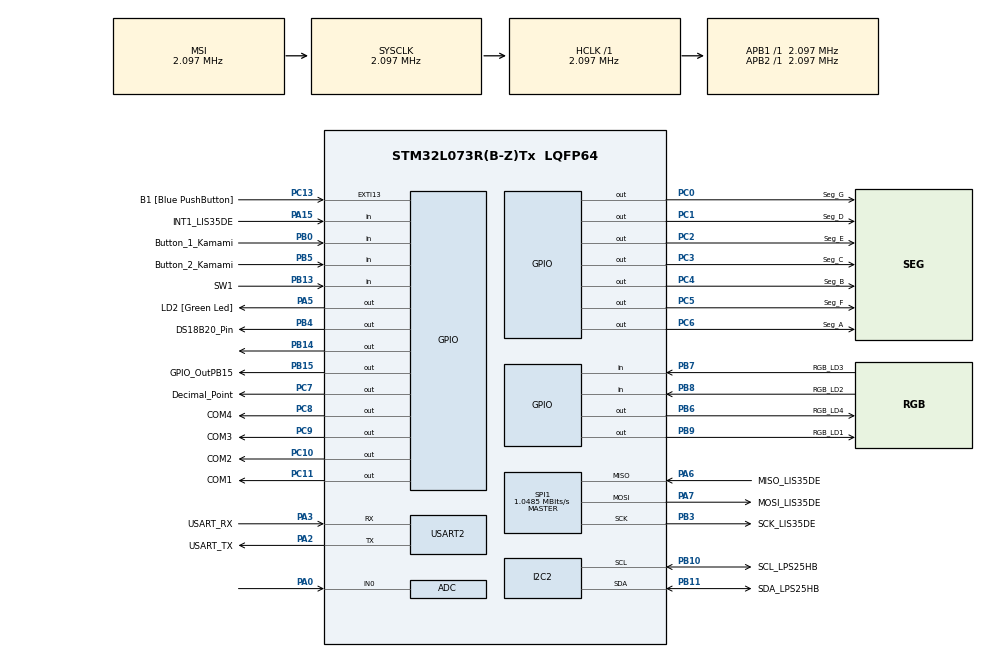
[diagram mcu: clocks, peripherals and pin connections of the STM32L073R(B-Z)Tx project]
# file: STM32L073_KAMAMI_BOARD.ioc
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Mcu.Family=STM32L0
Mcu.Name=STM32L073R(B-Z)Tx
Mcu.Package=LQFP64
NVIC.EXTI4_15_IRQn=true\:0\:0\:false\:false\:true\:true\:true\:true
PA0.Mode=IN0
PA0.Signal=ADC_IN0
PA13.GPIO_Label=TMS
PA13.Mode=Serial_Wire
PA13.Signal=SYS_SWDIO
PA14.GPIO_Label=TCK
PA14.Mode=Serial_Wire
PA14.Signal=SYS_SWCLK
PA15.GPIO_Label=INT1_LIS35DE
PA15.Signal=GPIO_Input
PA2.GPIO_Label=USART_TX
PA2.Mode=Asynchronous
PA2.Signal=USART2_TX
PA3.GPIO_Label=USART_RX
PA3.Mode=Asynchronous
PA3.Signal=USART2_RX
PA5.GPIO_Label=LD2 [Green Led]
PA5.Signal=GPIO_Output
PA6.GPIO_Label=MISO_LIS35DE
PA6.Mode=Full_Duplex_Master
PA6.Signal=SPI1_MISO
PA7.GPIO_Label=MOSI_LIS35DE
PA7.Mode=Full_Duplex_Master
PA7.Signal=SPI1_MOSI
PB0.GPIO_Label=Button_1_Kamami
PB0.GPIO_PuPd=GPIO_PULLUP
PB0.Signal=GPIO_Input
PB10.GPIO_Label=SCL_LPS25HB
PB10.Mode=I2C
PB10.Signal=I2C2_SCL
PB11.GPIO_Label=SDA_LPS25HB
PB11.Mode=I2C
PB11.Signal=I2C2_SDA
PB13.GPIO_Label=SW1
PB13.GPIO_PuPd=GPIO_PULLUP
PB13.Signal=GPIO_Input
PB14.PinState=GPIO_PIN_RESET
PB14.Signal=GPIO_Output
PB15.GPIO_Label=GPIO_OutPB15
PB15.Signal=GPIO_Output
PB3.GPIO_Label=SCK_LIS35DE
PB3.Mode=Full_Duplex_Master
PB3.Signal=SPI1_SCK
PB4.GPIO_Label=DS18B20_Pin
PB4.Signal=GPIO_Output
PB5.GPIO_Label=Button_2_Kamami
PB5.GPIO_PuPd=GPIO_PULLUP
PB5.Signal=GPIO_Input
PB6.GPIO_Label=RGB_LD4
PB6.Signal=GPIO_Output
PB7.GPIO_Label=RGB_LD3
PB7.Signal=GPIO_Input
PB8.GPIO_Label=RGB_LD2
PB8.Signal=GPIO_Input
PB9.GPIO_Label=RGB_LD1
PB9.Signal=GPIO_Output
PC0.GPIO_Label=Seg_G
PC0.Signal=GPIO_Output
PC1.GPIO_Label=Seg_D
PC1.Signal=GPIO_Output
PC10.GPIO_Label=COM2
PC10.Signal=GPIO_Output
PC11.GPIO_Label=COM1
PC11.Signal=GPIO_Output
PC13.GPIO_Label=B1 [Blue PushButton]
PC13.GPIO_ModeDefaultEXTI=GPIO_MODE_IT_FALLING
PC13.Signal=GPXTI13
PC14-OSC32_IN.Mode=LSE-External-Oscillator
PC14-OSC32_IN.Signal=RCC_OSC32_IN
PC15-OSC32_OUT.Mode=LSE-External-Oscillator
PC15-OSC32_OUT.Signal=RCC_OSC32_OUT
PC2.GPIO_Label=Seg_E
PC2.Signal=GPIO_Output
PC3.GPIO_Label=Seg_C
PC3.Signal=GPIO_Output
PC4.GPIO_Label=Seg_B
PC4.Signal=GPIO_Output
PC5.GPIO_Label=Seg_F
PC5.Signal=GPIO_Output
PC6.GPIO_Label=Seg_A
PC6.Signal=GPIO_Output
PC7.GPIO_Label=Decimal_Point
PC7.Signal=GPIO_Output
PC8.GPIO_Label=COM4
PC8.Signal=GPIO_Output
PC9.GPIO_Label=COM3
PC9.Signal=GPIO_Output
PH0-OSC_IN.GPIO_Label=MCO
PH0-OSC_IN.Mode=HSE-External-Clock-Source
PH0-OSC_IN.Signal=RCC_OSC_IN
ProjectManager.HeapSize=0x200
ProjectManager.StackSize=0x400
ProjectManager.TargetToolchain=MDK-ARM V5.32
RCC.AHBFreq_Value=2097000
RCC.APB1Freq_Value=2097000
RCC.APB1TimFreq_Value=2097000
RCC.APB2Freq_Value=2097000
RCC.APB2TimFreq_Value=2097000
RCC.HSE_VALUE=8000000
RCC.HSI16_VALUE=16000000
RCC.HSI48_VALUE=48000000
RCC.HSI_VALUE=16000000
RCC.MSI_VALUE=2097000
RCC.SYSCLKFreq_VALUE=2097000
RCC.VCOOutputFreq_Value=48000000
SPI1.CalculateBaudRate=1.0485 MBits/s
SPI1.Direction=SPI_DIRECTION_2LINES
SPI1.Mode=SPI_MODE_MASTER
SPI1.VirtualType=VM_MASTER
USART2.VirtualMode-Asynchronous=VM_ASYNC
board=NUCLEO-L073RZ

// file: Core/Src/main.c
/* USER CODE BEGIN Header */
/**
  ******************************************************************************
  * @file           : main.c
  * @brief          : Main program body
  ******************************************************************************
  * @attention
  *
  * Copyright (c) 2022 STMicroelectronics.
  * All rights reserved.
  *
  * This software is licensed under terms that can be found in the LICENSE file
  * in the root directory of this software component.
  * If no LICENSE file comes with this software, it is provided AS-IS.
  *
  ******************************************************************************
  */
/* USER CODE END Header */
#include "main.h"

/* USER CODE BEGIN Includes */
#include "mano.h"

/* USER CODE END Includes */

ADC_HandleTypeDef hadc;

I2C_HandleTypeDef hi2c2;

SPI_HandleTypeDef hspi1;

UART_HandleTypeDef huart2;

/* USER CODE BEGIN PV */

int counter = 0;
int mux_counter = 0;

float targetPressure = 5.0;  // default pressure 5.0 bar
float currentPressure = 0.0;
uint8_t editMode = 1;  // start in edit mode
uint8_t flashState = 0;       // Used for flashing the display
uint32_t buttonPressTime[2] = {0, 0};
uint8_t buttonHeld[2] = {0, 0};
uint32_t lastUpdateTime = 0;  // Timer tracking for periodic updates

/* USER CODE END PV */

void SystemClock_Config(void);
static void MX_GPIO_Init(void);
static void MX_ADC_Init(void);
static void MX_I2C2_Init(void);
static void MX_SPI1_Init(void);
static void MX_USART2_UART_Init(void);
/* USER CODE BEGIN PFP */
void DisplayPressure(float pressure);
float ReadPressure(void);
void ControlRelay(float currentPressure, float targetPressure);
void HandleButtonPress(uint8_t button);
void CheckInputs(void);
void ProcessButtonPress(GPIO_TypeDef *GPIOx, uint16_t GPIO_Pin, uint8_t buttonIndex);
/* USER CODE END PFP */

/* USER CODE BEGIN 0 */

void CheckInputs(void)
{
  // Read switch state
  if ((HAL_GPIO_ReadPin(GPIOB, SW1_Pin) == GPIO_PIN_RESET)) // Switch closed
  {
    editMode = 0;
  }
  else // Switch open
  {
    editMode = 1;
		//HAL_GPIO_TogglePin(RGB_LD1_GPIO_Port,RGB_LD1_Pin); // LED on
  }

	// Check button states for both buttons
  ProcessButtonPress(Button_1_Kamami_GPIO_Port, Button_1_Kamami_Pin, 0);
  ProcessButtonPress(Button_2_Kamami_GPIO_Port, Button_2_Kamami_Pin, 1);
}

#define Vref 3.3
#define Vstep Vref/4096 // 12 bit ADC
float ReadPressure(void)
{

	float pressure;
	uint32_t ADCpa0;
	float Vpa0;
	static unsigned char bADCReady=1;

	//if (HAL_ADCEx_Calibration_Start(&hadc, ADC_SINGLE_ENDED) != HAL_OK) {
//		Error_Handler();
//	}

	if (bADCReady==1) {
	// starting ADC
		if (HAL_ADC_Start(&hadc) != HAL_OK) {
			// Start Conversation Error
			Error_Handler();
		}
		else bADCReady=0; // ADC conversion in progress, you cannot start another ADC conversion
	}

	HAL_ADC_PollForConversion(&hadc, 10);

	// Check if the continous conversion of regular channel is finished
	if ((HAL_ADC_GetState(&hadc) & HAL_ADC_STATE_REG_EOC) == HAL_ADC_STATE_REG_EOC) {

		//##-6- Get the converted value of regular channel ########################
		ADCpa0 = HAL_ADC_GetValue(&hadc);// Read ADC result
		Vpa0=ADCpa0*Vstep; // calculate voltage
		//pressure = 3.8783 * Vpa0 - 1.2928;
		pressure = 2 * 3.8783 * Vpa0 - 1.2928;
		bADCReady=1; // you can start another ADC conversion
	}

	return pressure;

  //return ((adcValue * 3.3 / 4095.0 - 0.5) / 2.5) * 10.34214;
	//return ((adcValue * 3.3 / 4095.0 - 0.5) / 2.5) * 100.34214;

	//return 6.2;
}

void ProcessButtonPress(GPIO_TypeDef *GPIOx, uint16_t GPIO_Pin, uint8_t buttonIndex)
{
  if (HAL_GPIO_ReadPin(GPIOx, GPIO_Pin) == GPIO_PIN_RESET)
  {
    if (!buttonHeld[buttonIndex])
    {
      buttonPressTime[buttonIndex] = HAL_GetTick();
      buttonHeld[buttonIndex] = 1;
    }
    else
    {
      uint32_t pressDuration = HAL_GetTick() - buttonPressTime[buttonIndex];
      if (pressDuration > 700) // Long press
      {
        targetPressure += (buttonIndex == 0 ? 1.0 : -1.0);
        buttonPressTime[buttonIndex] = HAL_GetTick();
      }
    }
  }
  else if (buttonHeld[buttonIndex]) // Button released
  {
    uint32_t pressDuration = HAL_GetTick() - buttonPressTime[buttonIndex];
    if (pressDuration <= 700) // Short press
    {
      targetPressure += (buttonIndex == 0 ? 0.1 : -0.1);
    }
    buttonHeld[buttonIndex] = 0;
  }

  // Clamp target pressure
  if (targetPressure < 0)
    targetPressure = 0;
  if (targetPressure > 8.0)
    targetPressure = 8.0;
}

void DisplayPressure(float pressure)
{

	const uint32_t DECIMAL_POINT = DPseg; // Bitmask for decimal point segment

	const uint32_t digitPatterns[10] = {
    Aseg | Bseg | Cseg | Dseg | Eseg | Fseg,           // 0
    Bseg | Cseg,                                       // 1
    Aseg | Bseg | Dseg | Eseg | Gseg,                   // 2
    Aseg | Bseg | Cseg | Dseg | Gseg,                   // 3
    Bseg | Cseg | Fseg | Gseg,                         // 4
    Aseg | Cseg | Dseg | Fseg | Gseg,                   // 5
    Aseg | Cseg | Dseg | Eseg | Fseg | Gseg,            // 6
    Aseg | Bseg | Cseg,                                 // 7
    Aseg | Bseg | Cseg | Dseg | Eseg | Fseg | Gseg,      // 8
    Aseg | Bseg | Cseg | Dseg | Fseg | Gseg             // 9
	};

	/*
  if (pressure < 0) // Blank display
  {
    // Logic to turn off display
    GPIOC->ODR &= ~(COM1 | COM2 | COM3 | COM4);
    return;
  }
	*/
		//	float tmp_pressure = pressure; // temporary pressure value
  int integerPart = (int)pressure;
  int decimalPart = (int)((pressure - integerPart) * 10); //incorect ?

   // Extract individual digits
  int digits[4] = {
     integerPart,        // Units digit
     decimalPart,             // First decimal digit
     -1                       // Placeholder if needed for further extension
  };

	if (mux_counter == 6) GPIOC->ODR = digitPatterns[digits[0]] | DECIMAL_POINT | ((COM3) << 8);
	else if (mux_counter == 1) GPIOC->ODR = digitPatterns[digits[1]] | ((COM4) << 8);
	//GPIOC->ODR = digitPatterns[digits[1]] | ((COM3) << 8);
	//GPIOC->ODR = digitPatterns[digits[0]] | ((COM2) << 8);

	// Use the counter to select which digit to display

}

void ControlRelay(float currentPressure, float targetPressure) {
  if (currentPressure < targetPressure - 0.1)
  {
    HAL_GPIO_WritePin(GPIOB, GPIO_PIN_14, GPIO_PIN_SET); // Turn on relay
  }
  else if (currentPressure > targetPressure + 0.1)
  {
    HAL_GPIO_WritePin(GPIOB, GPIO_PIN_14, GPIO_PIN_RESET); // Turn off relay
  }
}
/* USER CODE END 0 */

int main(void)
{

  /* MCU Configuration--------------------------------------------------------*/

  /* Reset of all peripherals, Initializes the Flash interface and the Systick. */
  HAL_Init();

  /* Configure the system clock */
  SystemClock_Config();

  /* Initialize all configured peripherals */
  MX_GPIO_Init();
  MX_ADC_Init();
  MX_I2C2_Init();
  MX_SPI1_Init();
  MX_USART2_UART_Init();
  /* USER CODE BEGIN 2 */
  HAL_GPIO_WritePin(RGB_LD4_GPIO_Port,RGB_LD4_Pin,GPIO_PIN_RESET);
  /* USER CODE END 2 */

  /* Infinite loop */
  while (1)
  {

    /* USER CODE BEGIN 3 */

		CheckInputs();

		if (!editMode) // We are in regulation mode
      {
        if (counter % 300 == 0) // Flash display at 5 Hz
        {
          flashState = !flashState;
        }

        if (flashState) DisplayPressure(currentPressure);
				else GPIOC->ODR = ~(COM1 | COM2 | COM3 | COM4);

        ControlRelay(currentPressure, targetPressure);
      }
      else // We are in edit mode
      {
        DisplayPressure(targetPressure);
      }

		//HAL_GPIO_WritePin(GPIOB, GPIO_PIN_14, GPIO_PIN_SET);
		/*
		if (counter % 100 == 0)
		{

		//CheckInputs();
		HAL_GPIO_TogglePin(RGB_LD1_GPIO_Port,RGB_LD1_Pin); // LED on

		}
		*/
  }
  /* USER CODE END 3 */
}

void SystemClock_Config(void)
{
  RCC_OscInitTypeDef RCC_OscInitStruct = {0};
  RCC_ClkInitTypeDef RCC_ClkInitStruct = {0};
  RCC_PeriphCLKInitTypeDef PeriphClkInit = {0};

  /** Configure the main internal regulator output voltage
  */
  __HAL_PWR_VOLTAGESCALING_CONFIG(PWR_REGULATOR_VOLTAGE_SCALE1);

  /** Initializes the RCC Oscillators according to the specified parameters
  * in the RCC_OscInitTypeDef structure.
  */
  RCC_OscInitStruct.OscillatorType = RCC_OSCILLATORTYPE_MSI;
  RCC_OscInitStruct.MSIState = RCC_MSI_ON;
  RCC_OscInitStruct.MSICalibrationValue = 0;
  RCC_OscInitStruct.MSIClockRange = RCC_MSIRANGE_5;
  RCC_OscInitStruct.PLL.PLLState = RCC_PLL_NONE;
  if (HAL_RCC_OscConfig(&RCC_OscInitStruct) != HAL_OK)
  {
    Error_Handler();
  }

  /** Initializes the CPU, AHB and APB buses clocks
  */
  RCC_ClkInitStruct.ClockType = RCC_CLOCKTYPE_HCLK|RCC_CLOCKTYPE_SYSCLK
                              |RCC_CLOCKTYPE_PCLK1|RCC_CLOCKTYPE_PCLK2;
  RCC_ClkInitStruct.SYSCLKSource = RCC_SYSCLKSOURCE_MSI;
  RCC_ClkInitStruct.AHBCLKDivider = RCC_SYSCLK_DIV1;
  RCC_ClkInitStruct.APB1CLKDivider = RCC_HCLK_DIV1;
  RCC_ClkInitStruct.APB2CLKDivider = RCC_HCLK_DIV1;

  if (HAL_RCC_ClockConfig(&RCC_ClkInitStruct, FLASH_LATENCY_0) != HAL_OK)
  {
    Error_Handler();
  }
  PeriphClkInit.PeriphClockSelection = RCC_PERIPHCLK_USART2;
  PeriphClkInit.Usart2ClockSelection = RCC_USART2CLKSOURCE_PCLK1;
  if (HAL_RCCEx_PeriphCLKConfig(&PeriphClkInit) != HAL_OK)
  {
    Error_Handler();
  }
}

static void MX_ADC_Init(void)
{

  ADC_ChannelConfTypeDef sConfig = {0};

  /** Configure the global features of the ADC (Clock, Resolution, Data Alignment and number of conversion)
  */
  hadc.Instance = ADC1;
  hadc.Init.OversamplingMode = DISABLE;
  hadc.Init.ClockPrescaler = ADC_CLOCK_SYNC_PCLK_DIV1;
  hadc.Init.Resolution = ADC_RESOLUTION_12B;
  hadc.Init.SamplingTime = ADC_SAMPLETIME_1CYCLE_5;
  hadc.Init.ScanConvMode = ADC_SCAN_DIRECTION_FORWARD;
  hadc.Init.DataAlign = ADC_DATAALIGN_RIGHT;
  hadc.Init.ContinuousConvMode = DISABLE;
  hadc.Init.DiscontinuousConvMode = DISABLE;
  hadc.Init.ExternalTrigConvEdge = ADC_EXTERNALTRIGCONVEDGE_NONE;
  hadc.Init.ExternalTrigConv = ADC_SOFTWARE_START;
  hadc.Init.DMAContinuousRequests = DISABLE;
  hadc.Init.EOCSelection = ADC_EOC_SINGLE_CONV;
  hadc.Init.Overrun = ADC_OVR_DATA_PRESERVED;
  hadc.Init.LowPowerAutoWait = DISABLE;
  hadc.Init.LowPowerFrequencyMode = ENABLE;
  hadc.Init.LowPowerAutoPowerOff = DISABLE;
  if (HAL_ADC_Init(&hadc) != HAL_OK)
  {
    Error_Handler();
  }

  /** Configure for the selected ADC regular channel to be converted.
  */
  sConfig.Channel = ADC_CHANNEL_0;
  sConfig.Rank = ADC_RANK_CHANNEL_NUMBER;
  if (HAL_ADC_ConfigChannel(&hadc, &sConfig) != HAL_OK)
  {
    Error_Handler();
  }

}

static void MX_I2C2_Init(void)
{

  hi2c2.Instance = I2C2;
  hi2c2.Init.Timing = 0x00000708;
  hi2c2.Init.OwnAddress1 = 0;
  hi2c2.Init.AddressingMode = I2C_ADDRESSINGMODE_7BIT;
  hi2c2.Init.DualAddressMode = I2C_DUALADDRESS_DISABLE;
  hi2c2.Init.OwnAddress2 = 0;
  hi2c2.Init.OwnAddress2Masks = I2C_OA2_NOMASK;
  hi2c2.Init.GeneralCallMode = I2C_GENERALCALL_DISABLE;
  hi2c2.Init.NoStretchMode = I2C_NOSTRETCH_DISABLE;
  if (HAL_I2C_Init(&hi2c2) != HAL_OK)
  {
    Error_Handler();
  }

  /** Configure Analogue filter
  */
  if (HAL_I2CEx_ConfigAnalogFilter(&hi2c2, I2C_ANALOGFILTER_ENABLE) != HAL_OK)
  {
    Error_Handler();
  }

  /** Configure Digital filter
  */
  if (HAL_I2CEx_ConfigDigitalFilter(&hi2c2, 0) != HAL_OK)
  {
    Error_Handler();
  }

}

static void MX_SPI1_Init(void)
{

  /* SPI1 parameter configuration*/
  hspi1.Instance = SPI1;
  hspi1.Init.Mode = SPI_MODE_MASTER;
  hspi1.Init.Direction = SPI_DIRECTION_2LINES;
  hspi1.Init.DataSize = SPI_DATASIZE_8BIT;
  hspi1.Init.CLKPolarity = SPI_POLARITY_LOW;
  hspi1.Init.CLKPhase = SPI_PHASE_1EDGE;
  hspi1.Init.NSS = SPI_NSS_SOFT;
  hspi1.Init.BaudRatePrescaler = SPI_BAUDRATEPRESCALER_2;
  hspi1.Init.FirstBit = SPI_FIRSTBIT_MSB;
  hspi1.Init.TIMode = SPI_TIMODE_DISABLE;
  hspi1.Init.CRCCalculation = SPI_CRCCALCULATION_DISABLE;
  hspi1.Init.CRCPolynomial = 7;
  if (HAL_SPI_Init(&hspi1) != HAL_OK)
  {
    Error_Handler();
  }

}

static void MX_USART2_UART_Init(void)
{

  huart2.Instance = USART2;
  huart2.Init.BaudRate = 115200;
  huart2.Init.WordLength = UART_WORDLENGTH_8B;
  huart2.Init.StopBits = UART_STOPBITS_1;
  huart2.Init.Parity = UART_PARITY_NONE;
  huart2.Init.Mode = UART_MODE_TX_RX;
  huart2.Init.HwFlowCtl = UART_HWCONTROL_NONE;
  huart2.Init.OverSampling = UART_OVERSAMPLING_16;
  huart2.Init.OneBitSampling = UART_ONE_BIT_SAMPLE_DISABLE;
  huart2.AdvancedInit.AdvFeatureInit = UART_ADVFEATURE_NO_INIT;
  if (HAL_UART_Init(&huart2) != HAL_OK)
  {
    Error_Handler();
  }

}

static void MX_GPIO_Init(void)
{
  GPIO_InitTypeDef GPIO_InitStruct = {0};

  /* GPIO Ports Clock Enable */
  __HAL_RCC_GPIOC_CLK_ENABLE();
  __HAL_RCC_GPIOH_CLK_ENABLE();
  __HAL_RCC_GPIOA_CLK_ENABLE();
  __HAL_RCC_GPIOB_CLK_ENABLE();

  /*Configure GPIO pin Output Level */
  HAL_GPIO_WritePin(GPIOC, Seg_G_Pin|Seg_D_Pin|Seg_E_Pin|Seg_C_Pin
                          |Seg_B_Pin|Seg_F_Pin|Seg_A_Pin|Decimal_Point_Pin
                          |COM4_Pin|COM3_Pin|COM2_Pin|COM1_Pin, GPIO_PIN_RESET);

  /*Configure GPIO pin Output Level */
  HAL_GPIO_WritePin(LD2_GPIO_Port, LD2_Pin, GPIO_PIN_RESET);

  /*Configure GPIO pin Output Level */
  HAL_GPIO_WritePin(GPIOB, GPIO_PIN_14|GPIO_OutPB15_Pin|DS18B20_Pin_Pin|RGB_LD4_Pin
                          |RGB_LD1_Pin, GPIO_PIN_RESET);

  /*Configure GPIO pin : B1_Pin */
  GPIO_InitStruct.Pin = B1_Pin;
  GPIO_InitStruct.Mode = GPIO_MODE_IT_FALLING;
  GPIO_InitStruct.Pull = GPIO_NOPULL;
  HAL_GPIO_Init(B1_GPIO_Port, &GPIO_InitStruct);

  /*Configure GPIO pins : Seg_G_Pin Seg_D_Pin Seg_E_Pin Seg_C_Pin
                           Seg_B_Pin Seg_F_Pin Seg_A_Pin Decimal_Point_Pin
                           COM4_Pin COM3_Pin COM2_Pin COM1_Pin */
  GPIO_InitStruct.Pin = Seg_G_Pin|Seg_D_Pin|Seg_E_Pin|Seg_C_Pin
                          |Seg_B_Pin|Seg_F_Pin|Seg_A_Pin|Decimal_Point_Pin
                          |COM4_Pin|COM3_Pin|COM2_Pin|COM1_Pin;
  GPIO_InitStruct.Mode = GPIO_MODE_OUTPUT_PP;
  GPIO_InitStruct.Pull = GPIO_NOPULL;
  GPIO_InitStruct.Speed = GPIO_SPEED_FREQ_LOW;
  HAL_GPIO_Init(GPIOC, &GPIO_InitStruct);

  /*Configure GPIO pin : LD2_Pin */
  GPIO_InitStruct.Pin = LD2_Pin;
  GPIO_InitStruct.Mode = GPIO_MODE_OUTPUT_PP;
  GPIO_InitStruct.Pull = GPIO_NOPULL;
  GPIO_InitStruct.Speed = GPIO_SPEED_FREQ_LOW;
  HAL_GPIO_Init(LD2_GPIO_Port, &GPIO_InitStruct);

  /*Configure GPIO pins : Button_1_Kamami_Pin SW1_Pin Button_2_Kamami_Pin */
  GPIO_InitStruct.Pin = Button_1_Kamami_Pin|SW1_Pin|Button_2_Kamami_Pin;
  GPIO_InitStruct.Mode = GPIO_MODE_INPUT;
  GPIO_InitStruct.Pull = GPIO_PULLUP;
  HAL_GPIO_Init(GPIOB, &GPIO_InitStruct);

  /*Configure GPIO pins : PB14 GPIO_OutPB15_Pin DS18B20_Pin_Pin RGB_LD4_Pin
                           RGB_LD1_Pin */
  GPIO_InitStruct.Pin = GPIO_PIN_14|GPIO_OutPB15_Pin|DS18B20_Pin_Pin|RGB_LD4_Pin
                          |RGB_LD1_Pin;
  GPIO_InitStruct.Mode = GPIO_MODE_OUTPUT_PP;
  GPIO_InitStruct.Pull = GPIO_NOPULL;
  GPIO_InitStruct.Speed = GPIO_SPEED_FREQ_LOW;
  HAL_GPIO_Init(GPIOB, &GPIO_InitStruct);

  /*Configure GPIO pin : INT1_LIS35DE_Pin */
  GPIO_InitStruct.Pin = INT1_LIS35DE_Pin;
  GPIO_InitStruct.Mode = GPIO_MODE_INPUT;
  GPIO_InitStruct.Pull = GPIO_NOPULL;
  HAL_GPIO_Init(INT1_LIS35DE_GPIO_Port, &GPIO_InitStruct);

  /*Configure GPIO pins : RGB_LD3_Pin RGB_LD2_Pin */
  GPIO_InitStruct.Pin = RGB_LD3_Pin|RGB_LD2_Pin;
  GPIO_InitStruct.Mode = GPIO_MODE_INPUT;
  GPIO_InitStruct.Pull = GPIO_NOPULL;
  HAL_GPIO_Init(GPIOB, &GPIO_InitStruct);

  /* EXTI interrupt init*/
  HAL_NVIC_SetPriority(EXTI4_15_IRQn, 0, 0);
  HAL_NVIC_EnableIRQ(EXTI4_15_IRQn);

}

void Error_Handler(void)
{
  __disable_irq();
  while (1)
  {
  }
}
